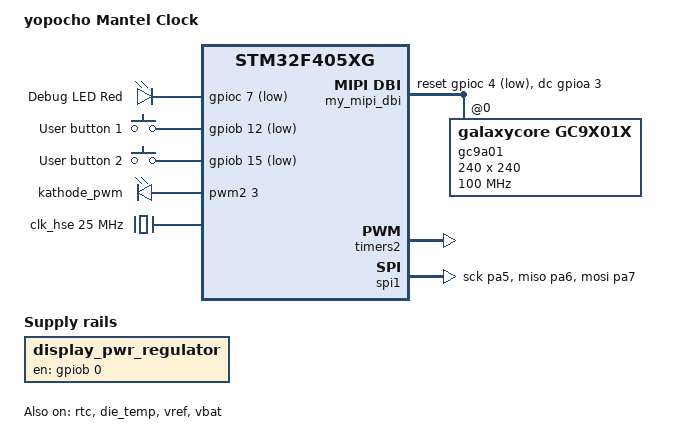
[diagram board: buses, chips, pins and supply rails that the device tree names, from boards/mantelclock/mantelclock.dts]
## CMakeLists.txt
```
cmake_minimum_required(VERSION 3.20.0)
find_package(Zephyr REQUIRED HINTS $ENV{ZEPHYR_BASE})

project(ChristmasMantelClock)

FILE(GLOB_RECURSE app_sources src/*.c src/ui/*.c)
FILE(GLOB INCLUDES "src/ui")

target_include_directories(app PRIVATE src/ui)

target_sources(app PRIVATE src/main.c ${app_sources})
```

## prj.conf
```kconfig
# NVS
CONFIG_FLASH=y
CONFIG_FLASH_MAP=y
CONFIG_MPU_ALLOW_FLASH_WRITE=y
CONFIG_CRC=y

# Logging/Debugging
CONFIG_DEBUG=y
CONFIG_LOG=y
CONFIG_LOG_BACKEND_SWO=y
CONFIG_LOG_BACKEND_SWO_FREQ_HZ=2000000
CONFIG_THREAD_NAME=y

# LVGL Widgets
# CONFIG_LV_CONF_MINIMAL=y
# CONFIG_LV_USE_LABEL=y
# CONFIG_LV_USE_SPINBOX=y
# CONFIG_LV_USE_ROLLER=y
# CONFIG_LV_FONT_MONTSERRAT_18=y
# CONFIG_LV_FONT_MONTSERRAT_48=y
# CONFIG_LV_USE_LABEL=y
# CONFIG_LV_LABEL_TEXT_SELECTION=y 
# CONFIG_LV_USE_LINE=y
# CONFIG_LV_USE_ARC=y
# CONFIG_LV_USE_MONKEY=y

# LVGL Fonts
# CONFIG_LV_FONT_DEFAULT_MONTSERRAT_48=y
```

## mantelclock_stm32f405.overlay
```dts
// #include <zephyr/dt-bindings/mipi_dbi/mipi_dbi.h>

// / {
//     chosen {
//         zephyr,display = &gc9a01_240x240;
//     };

//     mipi_dbi {
//         compatible = "zephyr,mipi-dbi-spi";
//         spi-dev = <&spi0>;
//         dc-gpios = <&gpio0 18 GPIO_ACTIVE_HIGH>;
//         reset-gpios = <&gpio0 8 GPIO_ACTIVE_LOW>;
//         https://www.digikey.nl/en/maker/tutorials/2025/introduction-to-zephyr-part-10-graphics-with-lvgl-and-display-drivers
//     }

    
// }
```

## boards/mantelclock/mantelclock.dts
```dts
/*
 * Copyright (c) 2025
 *
 * SPDX-License-Identifier: Apache-2.0
 */

/dts-v1/;
#include <st/f4/stm32f405Xg.dtsi>
#include <st/f4/stm32f405rgtx-pinctrl.dtsi>
#include <zephyr/dt-bindings/input/input-event-codes.h>
#include <zephyr/dt-bindings/mipi_dbi/mipi_dbi.h>
#include <zephyr/dt-bindings/display/panel.h>
#include <zephyr/dt-bindings/lvgl/lvgl.h>

/ {
	model = "yopocho Mantel Clock";
	compatible = "yopocho,mantelclock";

	chosen {
		zephyr,console = &usart2;
		zephyr,shell-uart = &usart2;
		zephyr,sram = &sram0;
		zephyr,flash = &flash0;
		zephyr,dtcm = &ccm0;
		zephyr,display = &gc9a01;
	};

	leds {
		compatible = "gpio-leds";

		red_led: led_0 {
			gpios = <&gpioc 7 GPIO_ACTIVE_LOW>;
			label = "Debug LED Red";
		};
	};

	keys: keys {
		compatible = "gpio-keys";
		status = "okay";
		debounce-interval-ms = <30>;

		user_button_1: button_1 {
			label = "User button 1";
			gpios = <&gpiob 12 GPIO_ACTIVE_LOW>;
			zephyr,code = <INPUT_KEY_0>;
		};

        user_button_2: button_2 {
			label = "User button 2";
			gpios = <&gpiob 15 GPIO_ACTIVE_LOW>;
			zephyr,code = <INPUT_KEY_1>;
		};
	};

	lvgl_keypad_input {
		compatible = "zephyr,lvgl-keypad-input";
		input = <&keys>;
		input-codes = <INPUT_KEY_0 INPUT_KEY_1>;
		lvgl-codes = <LV_KEY_UP LV_KEY_NEXT>;
	};

	pwmleds {
		compatible = "pwm-leds";
		status = "okay";

		kathode_pwm: kathode_pwm {
			pwms = <&pwm2 3 PWM_USEC(20) PWM_POLARITY_NORMAL>;
		};
	};

	display_pwr_regulator: display_pwr_regulator {
		compatible = "regulator-fixed";
		status = "okay";
		regulator-name = "display-pwr-regulator";
		enable-gpios = <&gpiob 0 GPIO_ACTIVE_HIGH>;
		regulator-boot-on;
		startup-delay-us = <100000>;
		off-on-delay-us = <100000>; 
	};

	aliases {
		led0 = &red_led;
		kathodepwm = &kathode_pwm;
		gc9a01 = &gc9a01;
		sw0 = &user_button_1;
        sw1 = &user_button_2;
		die-temp0 = &die_temp;
		volt-sensor0 = &vref;
		volt-sensor1 = &vbat;
		rtc = &rtc;
	};

	my_mipi_dbi {
		compatible = "zephyr,mipi-dbi-spi";
		status = "okay";
		#address-cells = <1>;
		#size-cells = <0>;
		spi-dev = <&spi1>;
		dc-gpios = <&gpioa 3 GPIO_ACTIVE_HIGH>;
		reset-gpios = <&gpioc 4 GPIO_ACTIVE_LOW>;
		
		gc9a01: gc9a01@0 {
			compatible = "galaxycore,gc9x01x";
			reg = <0>;
			mipi-max-frequency = <DT_FREQ_M(100)>;
			pixel-format = <PANEL_PIXEL_FORMAT_RGB_565>;
			width = <240>;
			height = <240>;
			display-inversion;
		};
	};
};

&clk_lse {
	status = "okay";
};

&clk_hse {
	clock-frequency = <DT_FREQ_M(25)>;
	status = "okay";
};

&pll {
	div-m = <25>;											// PLL input divider
	mul-n = <336>;											// PLL multiplier
	div-p = <2>;											// PLL output divider for main system clock
	div-q = <7>;		
	clocks = <&clk_hse>;
	status = "okay";
};

&rcc {
	clocks = <&pll>;
	clock-frequency = <DT_FREQ_M(168)>;
	ahb-prescaler = <1>;									// Division on AHB bus
	apb1-prescaler = <8>;									// Divide APB1 clock by 8 for 21MHz SPI (42MHz unstable)
	apb2-prescaler = <4>;									// Division on APB2
};

&usart2 {
	status = "disabled";
};

&timers2 {
	status = "okay";

	pwm2: pwm {
		status = "okay";
		pinctrl-0 = <&tim2_ch3_pa2>;
		pinctrl-names = "default";
		
	};
};

&rtc {
	clocks = <&rcc STM32_CLOCK_BUS_APB1 0x10000000>,
		 	 <&rcc STM32_SRC_LSE RTC_SEL(1)>;
	status = "okay";

	backup_regs {
		status = "okay";
	};
};

&die_temp {
	status = "okay";
};

&vref {
	status = "okay";
};

&vbat {
	status = "okay";
};

&dma1 {
	status = "okay";
};

&spi1 {
	pinctrl-0 = <&spi1_sck_pa5 &spi1_miso_pa6 &spi1_mosi_pa7>; // &spi1_nss_pa4 &spi1_sck_pa5 &spi1_miso_pa6 &spi1_mosi_pa7
	pinctrl-names = "default";
	cs-gpios = <&gpioa 4 GPIO_ACTIVE_LOW>;
	status = "okay";
};

&flash0 {
	status = "okay";
	partitions {
		compatible = "fixed-partitions";
		#address-cells = <1>;
		#size-cells = <1>;

		user_storage: partition@e0000 {
			label = "storage";
			reg = <0x000E0000 DT_SIZE_K(128)>;
		};
	};
};
```

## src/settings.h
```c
#include <lvgl.h>

typedef enum {
	CLOCK_TYPE_DIGITAL,
	CLOCK_TYPE_ANALOG
} clock_types;

/* Enum for current screen indidication */
typedef enum  {
	SCREEN_DIGITAL_CLOCK,
	SCREEN_ANALOG_CLOCK,
	SCREEN_DIGITAL_CLOCK_SET_TIME,
	SCREEN_ANALOG_CLOCK_SET_TIME,
	SCREEN_MENU,
	SCREEN_NONE,
	SCREEN_PREVIOUS,
	SCREEN_ACTIVE_CLOCK
} screens;

/* Enum for possible UI colours (cherry-picked from LVGL Main Palette) */
typedef enum{
	White,
	Black,
	Red,
	Pink,
	Purple,
	Indigo,
	Blue,
	Cyan,
	Teal,
	Green,
	Lime,
	Yellow,
	Amber,
	Orange,
	Brown,
	Gray
} colours_t;

/* User Settings struct typedef*/
typedef struct __packed user_settings_t {
	uint8_t brightness;
	clock_types clock_type;
	colours_t background_colour;
	colours_t text_colour;
	uint8_t time_hr;
	uint8_t time_min;
} user_settings_t;

extern user_settings_t user_settings;

lv_color_t get_color_from_index(colours_t colour);
```
